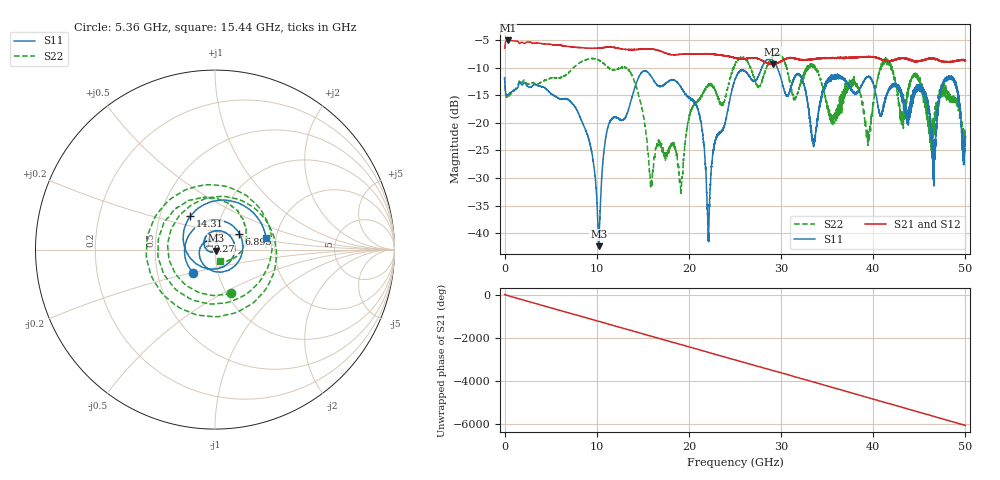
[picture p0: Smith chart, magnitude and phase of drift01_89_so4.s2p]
!Created with skrf (http://scikit-rf.org).
# Hz S RI R 50.0
!freq ReS11 ImS11 ReS21 ImS21 ReS12 ImS12 ReS22 ImS22
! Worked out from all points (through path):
!   10001 points, 300 kHz to 50 GHz, reference 50 ohm
!   highest |S21| = -5.06 dB at 345.3 MHz (marker M1); lowest = -9.4 dB at 29.08 GHz (marker M2)
!   group delay of S21, straight-line fit = 336 ps
!   lowest |S11| = -42.4 dB at 10.22 GHz (marker M3), VSWR 1.02, Z = 50.5 - j0.563 ohm
!   |S11| at or under -10 dB: start of sweep to 27.9 GHz; 29.59 GHz to end of sweep
!   |S22| runs from -32.8 to -7.5 dB; largest |S21 - S12| = 0.014
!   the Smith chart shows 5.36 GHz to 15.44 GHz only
!   S11 on the Smith chart (normalised r, x): 5.36 GHz: 0.76, -0.20; 6.895 GHz: 1.29, +0.24; 9.27 GHz: 0.92, +0.09; 14.31 GHz: 0.71, +0.28; 15.44 GHz: 1.78, +0.25
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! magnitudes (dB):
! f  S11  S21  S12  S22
! 300 kHz  -11.9  -6.5  -6.5  -11.7
! 345.3 MHz  -14.9  -5.1  -5.1  -15.3
! 5.36 GHz  -15.0  -5.8  -5.8  -11.8
! 6.895 GHz  -15.8  -6.2  -6.1  -11.0
! 8.335 GHz  -19.5  -6.4  -6.4  -8.9
! 9.27 GHz  -23.9  -6.5  -6.5  -8.4
! 10.22 GHz  -42.4  -6.4  -6.4  -8.6
! 11.23 GHz  -20.7  -6.3  -6.3  -10.0
! 14.31 GHz  -12.7  -6.7  -6.7  -13.6
! 15.44 GHz  -10.7  -6.6  -6.6  -23.0
! 16.67 GHz  -13.3  -6.9  -6.9  -23.3
! 19.14 GHz  -13.5  -7.5  -7.6  -32.7
! 20.86 GHz  -17.1  -7.6  -7.5  -16.3
! 22.12 GHz  -41.5  -7.5  -7.5  -13.3
! 25 GHz  -12.1  -8.2  -8.2  -9.5
! 29.08 GHz  -8.6  -9.4  -9.4  -8.0
! 33.34 GHz  -22.5  -8.5  -8.4  -9.5
! 39.47 GHz  -11.6  -8.0  -8.0  -22.0
! 41.67 GHz  -13.9  -8.8  -8.8  -9.2
! 46.55 GHz  -29.8  -8.3  -8.3  -21.2
! 48.52 GHz  -11.7  -8.9  -8.9  -15.4
! 50 GHz  -22.7  -8.7  -8.6  -22.6
